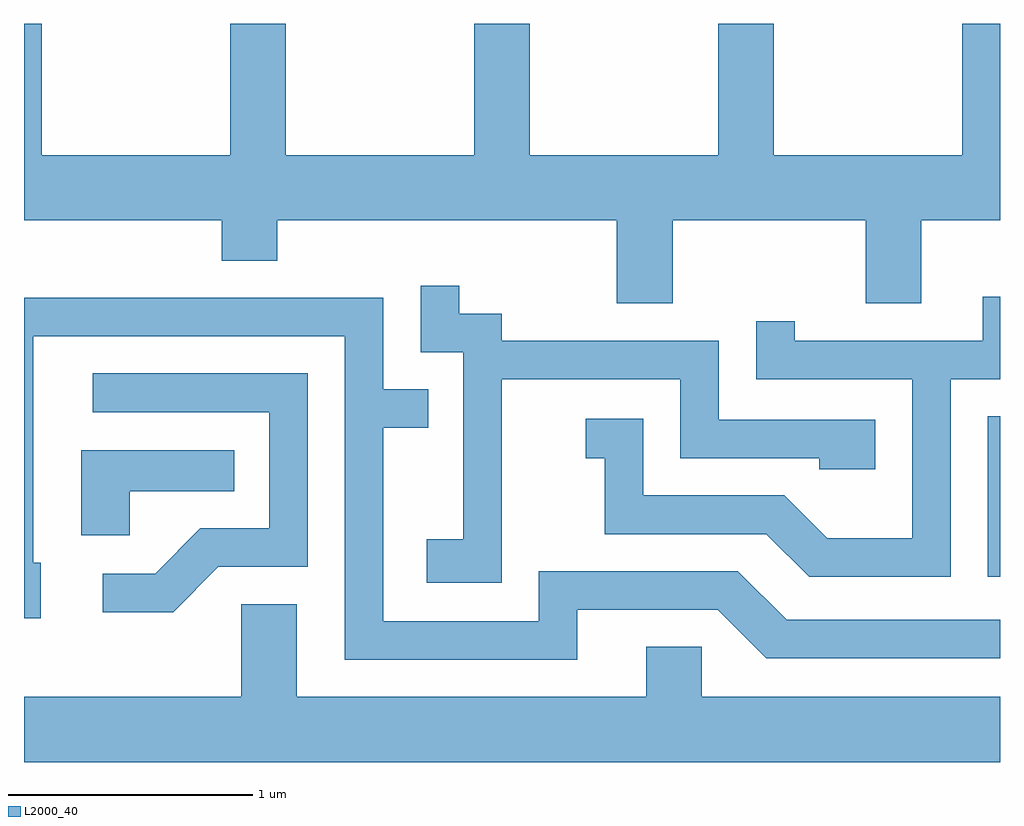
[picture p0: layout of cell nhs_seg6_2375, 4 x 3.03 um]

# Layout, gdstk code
import gdstk
lib = gdstk.Library(unit=1e-6, precision=1e-09)
def R(c, l, rs):  # rectangles x0, y0, x1, y1
    for r in rs: c.add(gdstk.rectangle(r[:2], r[2:], *l))
def P(c, l, *ps):  # polygons
    for p in ps: c.add(gdstk.Polygon(p, *l))
L2000_40 = (2000, 40)

nhs_seg6_2375 = lib.new_cell('nhs_seg6_2375')
R(nhs_seg6_2375, L2000_40, [(261.561,1561.896,261.611,1562.554)])
P(nhs_seg6_2375, L2000_40, [(260.269,1563.356),(261.061,1563.356),(261.061,1563.016),(261.289,1563.016),(261.289,1563.356),(261.611,1563.356),(261.611,1564.162),(261.456,1564.162),(261.456,1563.624),(260.684,1563.624),(260.684,1564.162),(260.456,1564.162),(260.456,1563.624),(259.684,1563.624),(259.684,1564.162),(259.456,1564.162),(259.456,1563.624),(258.684,1563.624),(258.684,1564.162),(258.456,1564.162),(258.456,1563.624),(257.684,1563.624),(257.684,1564.162),(257.611,1564.162),(257.611,1563.356),(258.421,1563.356),(258.421,1563.191),(258.649,1563.191),(258.649,1563.356),(260.041,1563.356),(260.041,1563.016),(260.269,1563.016)],
  [(259.569,1562.706),(260.301,1562.706),(260.301,1562.381),(260.871,1562.381),(260.871,1562.336),(261.099,1562.336),(261.099,1562.539),(260.459,1562.539),(260.459,1562.864),(259.569,1562.864),(259.569,1562.974),(259.394,1562.974),(259.394,1563.088),(259.236,1563.088),(259.236,1562.816),(259.411,1562.816),(259.411,1562.049),(259.261,1562.049),(259.261,1561.871),(259.569,1561.871)],
  [(261.409,1562.706),(261.611,1562.706),(261.611,1563.043),(261.541,1563.043),(261.541,1562.864),(260.769,1562.864),(260.769,1562.943),(260.611,1562.943),(260.611,1562.706),(261.251,1562.706),(261.251,1562.054),(260.902,1562.054),(260.727,1562.229),(260.149,1562.229),(260.149,1562.544),(259.913,1562.544),(259.913,1562.381),(259.991,1562.381),(259.991,1562.071),(260.654,1562.071),(260.829,1561.896),(261.409,1561.896)],
  [(259.879,1561.761),(260.454,1561.761),(260.654,1561.561),(261.611,1561.561),(261.611,1561.719),(260.736,1561.719),(260.537,1561.919),(259.721,1561.919),(259.721,1561.714),(259.084,1561.714),(259.084,1562.506),(259.267,1562.506),(259.267,1562.664),(259.084,1562.664),(259.084,1563.039),(257.611,1563.039),(257.611,1561.726),(257.679,1561.726),(257.679,1561.954),(257.649,1561.954),(257.649,1562.881),(258.926,1562.881),(258.926,1561.556),(259.879,1561.556)],
  [(258.407,1561.936),(258.774,1561.936),(258.774,1562.729),(257.892,1562.729),(257.892,1562.571),(258.616,1562.571),(258.616,1562.094),(258.334,1562.094),(258.149,1561.909),(257.933,1561.909),(257.933,1561.751),(258.222,1561.751)],
  [(258.044,1562.246),(258.473,1562.246),(258.473,1562.414),(257.846,1562.414),(257.846,1562.066),(258.044,1562.066)],
  [(261.611,1561.404),(260.389,1561.404),(260.389,1561.609),(260.161,1561.609),(260.161,1561.404),(258.729,1561.404),(258.729,1561.784),(258.501,1561.784),(258.501,1561.404),(257.611,1561.404),(257.611,1561.136),(261.611,1561.136)])

lib.write_gds('nhs_seg6_2375.gds')
